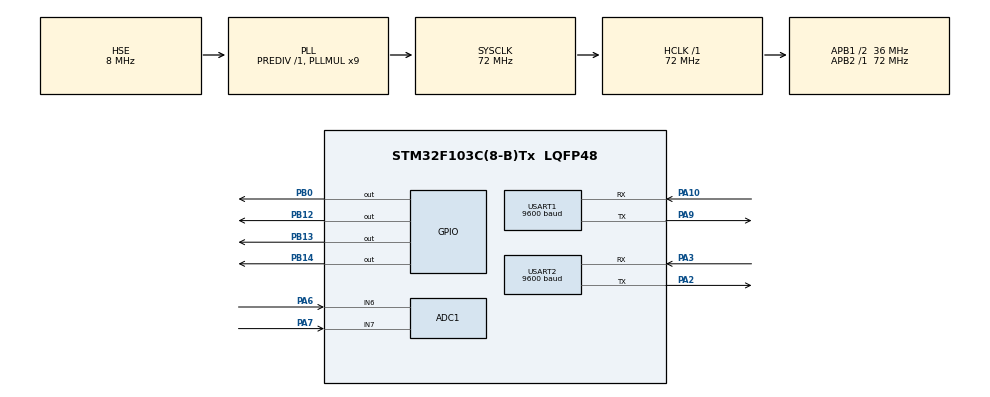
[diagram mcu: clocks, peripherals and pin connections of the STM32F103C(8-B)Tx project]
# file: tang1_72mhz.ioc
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ADC1.Channel-0\#ChannelRegularConversion=ADC_CHANNEL_6
ADC1.Channel-1\#ChannelRegularConversion=ADC_CHANNEL_7
ADC1.ContinuousConvMode=ENABLE
ADC1.NbrOfConversion=2
ADC1.NbrOfConversionFlag=1
ADC1.Rank-0\#ChannelRegularConversion=1
ADC1.Rank-1\#ChannelRegularConversion=2
ADC1.SamplingTime-0\#ChannelRegularConversion=ADC_SAMPLETIME_239CYCLES_5
ADC1.SamplingTime-1\#ChannelRegularConversion=ADC_SAMPLETIME_239CYCLES_5
ADC1.master=1
Mcu.Family=STM32F1
Mcu.Name=STM32F103C(8-B)Tx
Mcu.Package=LQFP48
NVIC.PriorityGroup=NVIC_PRIORITYGROUP_4
NVIC.USART1_IRQn=true\:2\:0\:true\:false\:true\:true\:true\:true
NVIC.USART2_IRQn=true\:1\:0\:true\:false\:true\:true\:true\:true
PA10.Mode=Asynchronous
PA10.Signal=USART1_RX
PA13.Mode=Serial_Wire
PA13.Signal=SYS_JTMS-SWDIO
PA14.Mode=Serial_Wire
PA14.Signal=SYS_JTCK-SWCLK
PA2.Mode=Asynchronous
PA2.Signal=USART2_TX
PA3.Mode=Asynchronous
PA3.Signal=USART2_RX
PA6.Signal=ADCx_IN6
PA7.Signal=ADCx_IN7
PA9.Mode=Asynchronous
PA9.Signal=USART1_TX
PB0.Signal=GPIO_Output
PB12.Signal=GPIO_Output
PB13.Signal=GPIO_Output
PB14.Signal=GPIO_Output
PD0-OSC_IN.Mode=HSE-External-Oscillator
PD0-OSC_IN.Signal=RCC_OSC_IN
PD1-OSC_OUT.Mode=HSE-External-Oscillator
PD1-OSC_OUT.Signal=RCC_OSC_OUT
ProjectManager.HeapSize=0x200
ProjectManager.StackSize=0x400
ProjectManager.TargetToolchain=MDK-ARM V5.32
RCC.ADCPresc=RCC_ADCPCLK2_DIV6
RCC.AHBFreq_Value=72000000
RCC.APB1CLKDivider=RCC_HCLK_DIV2
RCC.APB1Freq_Value=36000000
RCC.APB1TimFreq_Value=72000000
RCC.APB2Freq_Value=72000000
RCC.APB2TimFreq_Value=72000000
RCC.HCLKFreq_Value=72000000
RCC.PLLMUL=RCC_PLL_MUL9
RCC.PLLSourceVirtual=RCC_PLLSOURCE_HSE
RCC.SYSCLKFreq_VALUE=72000000
RCC.SYSCLKSource=RCC_SYSCLKSOURCE_PLLCLK
RCC.USBFreq_Value=72000000
SH.ADCx_IN6.0=ADC1_IN6,IN6
SH.ADCx_IN7.0=ADC1_IN7,IN7
USART1.BaudRate=9600
USART1.VirtualMode=VM_ASYNC
USART2.BaudRate=9600
USART2.VirtualMode=VM_ASYNC
board=custom

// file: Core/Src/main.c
/* USER CODE BEGIN Header */
/**
  ******************************************************************************
  * @file           : main.c
  * @brief          : Main program body
  ******************************************************************************
  * @attention
  *
  * Copyright (c) 2023 STMicroelectronics.
  * All rights reserved.
  *
  * This software is licensed under terms that can be found in the LICENSE file
  * in the root directory of this software component.
  * If no LICENSE file comes with this software, it is provided AS-IS.
  *
  ******************************************************************************
  */
/* USER CODE END Header */
#include "main.h"
#include "lcd_16x2.h"
#include "stdio.h"
#include "string.h"
#include "stdlib.h"

ADC_HandleTypeDef hadc1;

UART_HandleTypeDef huart1;
UART_HandleTypeDef huart2;

void SystemClock_Config(void);
static void MX_GPIO_Init(void);
static void MX_ADC1_Init(void);
static void MX_USART1_UART_Init(void);
static void MX_USART2_UART_Init(void);
/* USER CODE BEGIN PFP */
void ADC_Select_IN6 (void)
{
	ADC_ChannelConfTypeDef sConfig = {0};
	sConfig.Channel = ADC_CHANNEL_6;
  sConfig.Rank = 1;
  sConfig.SamplingTime = ADC_SAMPLETIME_239CYCLES_5;
  if (HAL_ADC_ConfigChannel(&hadc1, &sConfig) != HAL_OK)
  {
    Error_Handler();
  }
}

void ADC_Select_IN7 (void)
{
	ADC_ChannelConfTypeDef sConfig = {0};
	sConfig.Channel = ADC_CHANNEL_7;
  sConfig.Rank = 1;
  if (HAL_ADC_ConfigChannel(&hadc1, &sConfig) != HAL_OK)
  {
    Error_Handler();
  }
}
/* USER CODE END PFP */

	char data_esp_rx[1];
	char data_hc05_tx[100];
	char data_hc05_rx[100];

	int sum_adc_in6=0;
	int sum_adc_in7=0;
	double tb_adc_in6=0;
	double tb_adc_in7=0;
	int adc_value_in6;
	int adc_value_in7;
	double rawVoltage_in6=0;
	double rawVoltage_in7=0;
	double current_in6=0;
	double current_in7=0;
	double sensitivity = 0.185;

	char buff[12];
	char buff1[12];

	void dkthietbi()
	{
		HAL_UART_Receive(&huart2,data_esp_rx,1,100);
		if(data_esp_rx[0]=='b')
		{
			HAL_GPIO_WritePin(GPIOB,GPIO_PIN_0,1);
		}

		if(data_esp_rx[0]=='a')
		{
			HAL_GPIO_WritePin(GPIOB,GPIO_PIN_0,0);
		}

		if(data_esp_rx[0]=='A')
		{
			HAL_GPIO_WritePin(GPIOB,GPIO_PIN_12,1);
			Lcd_gotoxy(5,0);
			Lcd_write_string("ON ");
		}

		if(data_esp_rx[0]=='B')
		{
			HAL_GPIO_WritePin(GPIOB,GPIO_PIN_12,0);
			Lcd_gotoxy(5,0);
			Lcd_write_string("OFF");
		}

		if(data_esp_rx[0]=='C')
		{
			HAL_GPIO_WritePin(GPIOB,GPIO_PIN_13,1);
			Lcd_gotoxy(13,0);
			Lcd_write_string("ON ");
		}

		if(data_esp_rx[0]=='D')
		{
			HAL_GPIO_WritePin(GPIOB,GPIO_PIN_13,0);
			Lcd_gotoxy(13,0);
			Lcd_write_string("OFF");
		}

		if(data_esp_rx[0]=='c')
		{	sprintf(data_hc05_tx,"A");
			HAL_UART_Transmit(&huart1,data_hc05_tx,strlen(data_hc05_tx),100);
		}

		if(data_esp_rx[0]=='d')
		{	sprintf(data_hc05_tx,"B");
			HAL_UART_Transmit(&huart1,data_hc05_tx,strlen(data_hc05_tx),100);
		}

		if(data_esp_rx[0]=='e')
		{	sprintf(data_hc05_tx,"C");
			HAL_UART_Transmit(&huart1,data_hc05_tx,strlen(data_hc05_tx),100);
		}

		if(data_esp_rx[0]=='f')
		{	sprintf(data_hc05_tx,"D");
			HAL_UART_Transmit(&huart1,data_hc05_tx,strlen(data_hc05_tx),100);
		}
	}
	void hienthilcd()
 {
	 Lcd_gotoxy(3,1);
	 sprintf(buff,"%.2lf",current_in6);
	 Lcd_write_string(buff);

	 Lcd_gotoxy(11,1);
	 sprintf(buff1,"%.2lf",current_in7);
	 Lcd_write_string(buff1);
 }

int main(void)
{

  /* MCU Configuration--------------------------------------------------------*/

  /* Reset of all peripherals, Initializes the Flash interface and the Systick. */
  HAL_Init();

  /* Configure the system clock */
  SystemClock_Config();

  /* Initialize all configured peripherals */
  MX_GPIO_Init();
  MX_ADC1_Init();
  MX_USART1_UART_Init();
  MX_USART2_UART_Init();
  /* USER CODE BEGIN 2 */

	HAL_Delay(500);
	Lcd_Init();
  /* USER CODE END 2 */

  /* Infinite loop */
  /* USER CODE BEGIN WHILE */

	Lcd_gotoxy(2,0);
	Lcd_write_string("D1:");
	Lcd_gotoxy(5,0);
	Lcd_write_string("OFF");
	Lcd_gotoxy(10,0);
	Lcd_write_string("Q1:");
	Lcd_gotoxy(13,0);
	Lcd_write_string("OFF");
	Lcd_gotoxy(0,1);
	Lcd_write_string("A:");
	HAL_GPIO_WritePin(GPIOB,GPIO_PIN_0,1);
  /* USER CODE END 2 */

  /* Infinite loop */
  /* USER CODE BEGIN WHILE */
  while (1)
  {
    /* USER CODE END WHILE */

		for(int b=0;b<100;b++)
		{
		ADC_Select_IN6();
	  HAL_ADC_Start(&hadc1);
	  HAL_ADC_PollForConversion(&hadc1, 100);
		adc_value_in6 = HAL_ADC_GetValue(&hadc1);
		sum_adc_in6=sum_adc_in6+adc_value_in6;
		HAL_Delay(1);
	  HAL_ADC_Stop(&hadc1);
		}

	  for(int c=0;c<100;c++)
		{
		ADC_Select_IN7();
	  HAL_ADC_Start(&hadc1);
	  HAL_ADC_PollForConversion(&hadc1, 100);
		adc_value_in7 = HAL_ADC_GetValue(&hadc1);
		sum_adc_in7=sum_adc_in7+adc_value_in7;
		HAL_Delay(1);
	  HAL_ADC_Stop(&hadc1);
		}
		tb_adc_in6=(double)sum_adc_in6/100;
		tb_adc_in7=(double)sum_adc_in7/100;
		sum_adc_in6=0;
		sum_adc_in7=0;
		rawVoltage_in6 = ((double)tb_adc_in6/4095)*3.3*2*1.072;
		rawVoltage_in7 = ((double)tb_adc_in7/4095)*3.3*2*1.035;
    current_in6 =(rawVoltage_in6 - 2.5)/sensitivity;
		current_in7 =(rawVoltage_in7 - 2.5)/sensitivity;
		HAL_Delay(100);
		hienthilcd();
		HAL_Delay(500);
		dkthietbi();
  }
}

void SystemClock_Config(void)
{
  RCC_OscInitTypeDef RCC_OscInitStruct = {0};
  RCC_ClkInitTypeDef RCC_ClkInitStruct = {0};
  RCC_PeriphCLKInitTypeDef PeriphClkInit = {0};

  /** Initializes the RCC Oscillators according to the specified parameters
  * in the RCC_OscInitTypeDef structure.
  */
  RCC_OscInitStruct.OscillatorType = RCC_OSCILLATORTYPE_HSE;
  RCC_OscInitStruct.HSEState = RCC_HSE_ON;
  RCC_OscInitStruct.HSEPredivValue = RCC_HSE_PREDIV_DIV1;
  RCC_OscInitStruct.HSIState = RCC_HSI_ON;
  RCC_OscInitStruct.PLL.PLLState = RCC_PLL_ON;
  RCC_OscInitStruct.PLL.PLLSource = RCC_PLLSOURCE_HSE;
  RCC_OscInitStruct.PLL.PLLMUL = RCC_PLL_MUL9;
  if (HAL_RCC_OscConfig(&RCC_OscInitStruct) != HAL_OK)
  {
    Error_Handler();
  }

  /** Initializes the CPU, AHB and APB buses clocks
  */
  RCC_ClkInitStruct.ClockType = RCC_CLOCKTYPE_HCLK|RCC_CLOCKTYPE_SYSCLK
                              |RCC_CLOCKTYPE_PCLK1|RCC_CLOCKTYPE_PCLK2;
  RCC_ClkInitStruct.SYSCLKSource = RCC_SYSCLKSOURCE_PLLCLK;
  RCC_ClkInitStruct.AHBCLKDivider = RCC_SYSCLK_DIV1;
  RCC_ClkInitStruct.APB1CLKDivider = RCC_HCLK_DIV2;
  RCC_ClkInitStruct.APB2CLKDivider = RCC_HCLK_DIV1;

  if (HAL_RCC_ClockConfig(&RCC_ClkInitStruct, FLASH_LATENCY_2) != HAL_OK)
  {
    Error_Handler();
  }
  PeriphClkInit.PeriphClockSelection = RCC_PERIPHCLK_ADC;
  PeriphClkInit.AdcClockSelection = RCC_ADCPCLK2_DIV6;
  if (HAL_RCCEx_PeriphCLKConfig(&PeriphClkInit) != HAL_OK)
  {
    Error_Handler();
  }
}

static void MX_ADC1_Init(void)
{

  ADC_ChannelConfTypeDef sConfig = {0};

  /** Common config
  */
  hadc1.Instance = ADC1;
  hadc1.Init.ScanConvMode = ADC_SCAN_ENABLE;
  hadc1.Init.ContinuousConvMode = ENABLE;
  hadc1.Init.DiscontinuousConvMode = DISABLE;
  hadc1.Init.ExternalTrigConv = ADC_SOFTWARE_START;
  hadc1.Init.DataAlign = ADC_DATAALIGN_RIGHT;
  hadc1.Init.NbrOfConversion = 1;
  if (HAL_ADC_Init(&hadc1) != HAL_OK)
  {
    Error_Handler();
  }

  /** Configure Regular Channel
  */
  //sConfig.Channel = ADC_CHANNEL_6;
  //sConfig.Rank = ADC_REGULAR_RANK_1;
  //sConfig.SamplingTime = ADC_SAMPLETIME_239CYCLES_5;
  //if (HAL_ADC_ConfigChannel(&hadc1, &sConfig) != HAL_OK)
  //{
    //Error_Handler();
  //}

  /** Configure Regular Channel
  */
  //sConfig.Channel = ADC_CHANNEL_7;
  //sConfig.Rank = ADC_REGULAR_RANK_2;
  //if (HAL_ADC_ConfigChannel(&hadc1, &sConfig) != HAL_OK)
  //{
    //Error_Handler();
  //}

}

static void MX_USART1_UART_Init(void)
{

  huart1.Instance = USART1;
  huart1.Init.BaudRate = 9600;
  huart1.Init.WordLength = UART_WORDLENGTH_8B;
  huart1.Init.StopBits = UART_STOPBITS_1;
  huart1.Init.Parity = UART_PARITY_NONE;
  huart1.Init.Mode = UART_MODE_TX_RX;
  huart1.Init.HwFlowCtl = UART_HWCONTROL_NONE;
  huart1.Init.OverSampling = UART_OVERSAMPLING_16;
  if (HAL_UART_Init(&huart1) != HAL_OK)
  {
    Error_Handler();
  }

}

static void MX_USART2_UART_Init(void)
{

  huart2.Instance = USART2;
  huart2.Init.BaudRate = 9600;
  huart2.Init.WordLength = UART_WORDLENGTH_8B;
  huart2.Init.StopBits = UART_STOPBITS_1;
  huart2.Init.Parity = UART_PARITY_NONE;
  huart2.Init.Mode = UART_MODE_TX_RX;
  huart2.Init.HwFlowCtl = UART_HWCONTROL_NONE;
  huart2.Init.OverSampling = UART_OVERSAMPLING_16;
  if (HAL_UART_Init(&huart2) != HAL_OK)
  {
    Error_Handler();
  }

}

static void MX_GPIO_Init(void)
{
  GPIO_InitTypeDef GPIO_InitStruct = {0};

  /* GPIO Ports Clock Enable */
  __HAL_RCC_GPIOD_CLK_ENABLE();
  __HAL_RCC_GPIOA_CLK_ENABLE();
  __HAL_RCC_GPIOB_CLK_ENABLE();

  /*Configure GPIO pin Output Level */
  HAL_GPIO_WritePin(GPIOB, GPIO_PIN_0|GPIO_PIN_12|GPIO_PIN_13|GPIO_PIN_14, GPIO_PIN_RESET);

  /*Configure GPIO pins : PB0 PB12 PB13 PB14 */
  GPIO_InitStruct.Pin = GPIO_PIN_0|GPIO_PIN_12|GPIO_PIN_13|GPIO_PIN_14;
  GPIO_InitStruct.Mode = GPIO_MODE_OUTPUT_PP;
  GPIO_InitStruct.Pull = GPIO_NOPULL;
  GPIO_InitStruct.Speed = GPIO_SPEED_FREQ_LOW;
  HAL_GPIO_Init(GPIOB, &GPIO_InitStruct);

}

void Error_Handler(void)
{
  __disable_irq();
  while (1)
  {
  }
}
